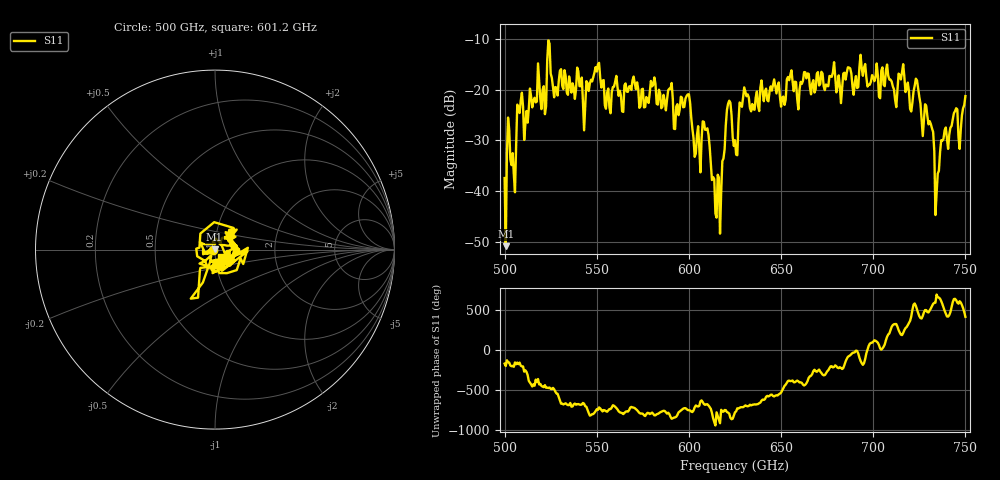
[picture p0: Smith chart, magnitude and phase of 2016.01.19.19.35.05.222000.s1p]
!Created with skrf (http://scikit-rf.org).
# GHz S RI R 50.0
!freq ReS11 ImS11
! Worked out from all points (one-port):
!   401 points, 500 GHz to 750 GHz, reference 50 ohm
!   lowest |S11| = -50.8 dB at 500.6 GHz (marker M1), VSWR 1.01, Z = 49.7 + j0.104 ohm
!   |S11| at or under -10 dB: start of sweep to end of sweep
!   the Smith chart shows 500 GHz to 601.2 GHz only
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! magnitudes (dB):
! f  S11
! 500 GHz  -37.4
! 500.6 GHz  -50.8
! 502.5 GHz  -27.9
! 505 GHz  -36.7
! 508.1 GHz  -24.6
! 521.2 GHz  -19.3
! 524.4 GHz  -10.9
! 527.5 GHz  -19.5
! 531.2 GHz  -19.2
! 543.8 GHz  -23.0
! 550 GHz  -16.4
! 562.5 GHz  -20.2
! 580.6 GHz  -19.1
! 593.8 GHz  -22.9
! 599.4 GHz  -20.9
! 605 GHz  -27.2
! 608.8 GHz  -27.9
! 615.6 GHz  -36.8
! 621.2 GHz  -22.8
! 625 GHz  -30.0
! 630.6 GHz  -20.4
! 656.2 GHz  -18.5
! 687.5 GHz  -15.8
! 718.8 GHz  -18.6
! 729.4 GHz  -25.2
! 735 GHz  -36.5
! 738.1 GHz  -29.7
! 750 GHz  -21.3
